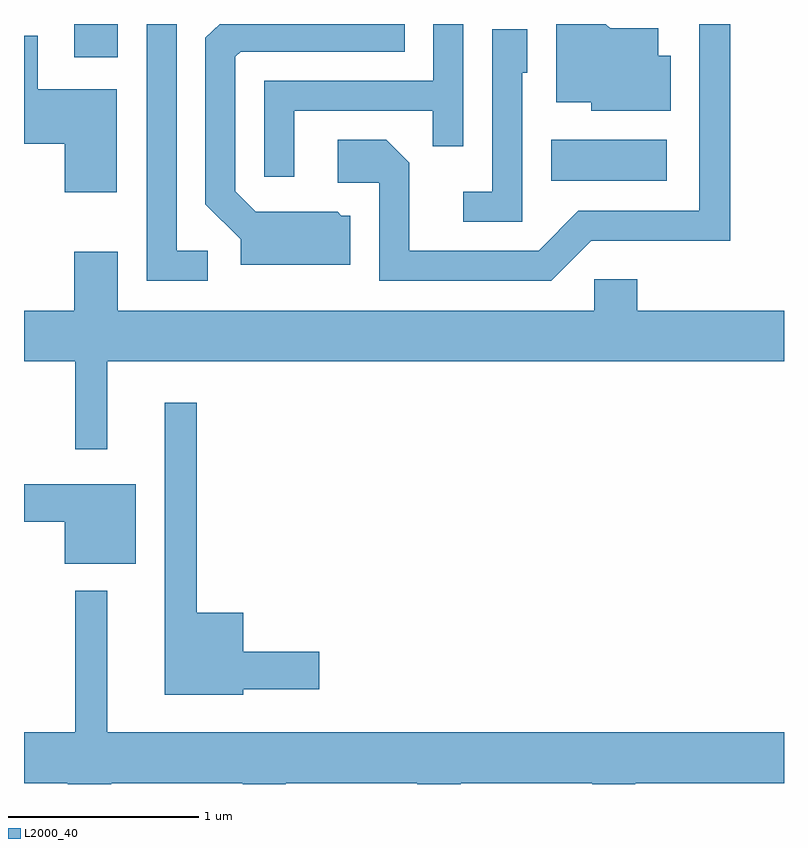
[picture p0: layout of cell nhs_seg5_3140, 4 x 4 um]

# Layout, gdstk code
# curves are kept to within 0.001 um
import gdstk
lib = gdstk.Library(unit=1e-6, precision=1e-09)
def R(c, l, rs):  # rectangles x0, y0, x1, y1
    for r in rs: c.add(gdstk.rectangle(r[:2], r[2:], *l))
def P(c, l, *ps):  # polygons
    for p in ps: c.add(gdstk.Polygon(p, *l))
L2000_40 = (2000, 40)

nhs_seg5_3140 = lib.new_cell('nhs_seg5_3140')
R(nhs_seg5_3140, L2000_40, [(280.386,1513.246,280.994,1513.464), (277.876,1513.896,278.104,1514.072)])
P(nhs_seg5_3140, L2000_40, [(279.329,1513.064),(279.282,1513.064),(279.262,1513.084),(278.832,1513.084),(278.724,1513.192),(278.724,1513.899),(278.752,1513.926),(279.614,1513.926),(279.614,1514.072),(278.64,1514.072),(278.566,1513.999),(278.566,1513.124),(278.751,1512.939),(278.751,1512.806),(279.329,1512.806)],
  [(280.597,1512.931),(281.329,1512.931),(281.329,1514.072),(281.093,1514.072),(281.166,1514.071),(281.166,1513.089),(280.529,1513.089),(280.319,1512.879),(279.639,1512.879),(279.639,1513.342),(279.517,1513.464),(279.261,1513.464),(279.261,1513.236),(279.481,1513.236),(279.481,1512.721),(280.387,1512.721)],
  [(278.578,1512.879),(278.414,1512.879),(278.414,1514.072),(278.256,1514.072),(278.256,1512.721),(278.578,1512.721)],
  [(279.034,1513.616),(279.761,1513.616),(279.761,1513.428),(279.924,1513.428),(279.924,1514.072),(279.766,1514.072),(279.766,1513.774),(278.876,1513.774),(278.876,1513.268),(279.034,1513.268)],
  [(281.014,1513.904),(280.949,1513.904),(280.949,1514.049),(280.697,1514.049),(280.674,1514.072),(280.411,1514.072),(280.411,1513.661),(280.596,1513.661),(280.596,1513.616),(281.014,1513.616)],
  [(280.234,1513.816),(280.259,1513.816),(280.259,1514.044),(280.076,1514.044),(280.076,1513.189),(279.923,1513.189),(279.923,1513.031),(280.234,1513.031)],
  [(278.099,1513.729),(277.684,1513.729),(277.684,1514.009),(277.611,1514.009),(277.611,1513.441),(277.826,1513.441),(277.826,1513.186),(278.099,1513.186)],
  [(278.049,1512.296),(281.611,1512.296),(281.611,1512.564),(280.839,1512.564),(280.839,1512.729),(280.611,1512.729),(280.611,1512.564),(278.104,1512.564),(278.104,1512.874),(277.876,1512.874),(277.876,1512.564),(277.611,1512.564),(277.611,1512.296),(277.881,1512.296),(277.881,1511.833),(278.049,1511.833)],
  [(278.764,1510.571),(279.164,1510.571),(279.164,1510.769),(278.764,1510.769),(278.764,1510.974),(278.519,1510.974),(278.519,1512.078),(278.351,1512.078),(278.351,1510.541),(278.764,1510.541)],
  [(278.199,1511.649),(277.611,1511.649),(277.611,1511.451),(277.826,1511.451),(277.826,1511.231),(278.199,1511.231)],
  [(278.069,1510.076),(278.761,1510.076),(278.761,1510.072),(278.989,1510.072),(278.989,1510.076),(279.681,1510.076),(279.681,1510.072),(279.909,1510.072),(279.909,1510.076),(280.601,1510.076),(280.601,1510.072),(280.829,1510.072),(280.829,1510.076),(281.611,1510.076),(281.611,1510.344),(278.049,1510.344),(278.049,1511.088),(277.881,1511.088),(277.881,1510.344),(277.611,1510.344),(277.611,1510.076),(277.841,1510.076),(277.841,1510.072),(278.069,1510.072)])

lib.write_gds('nhs_seg5_3140.gds')
